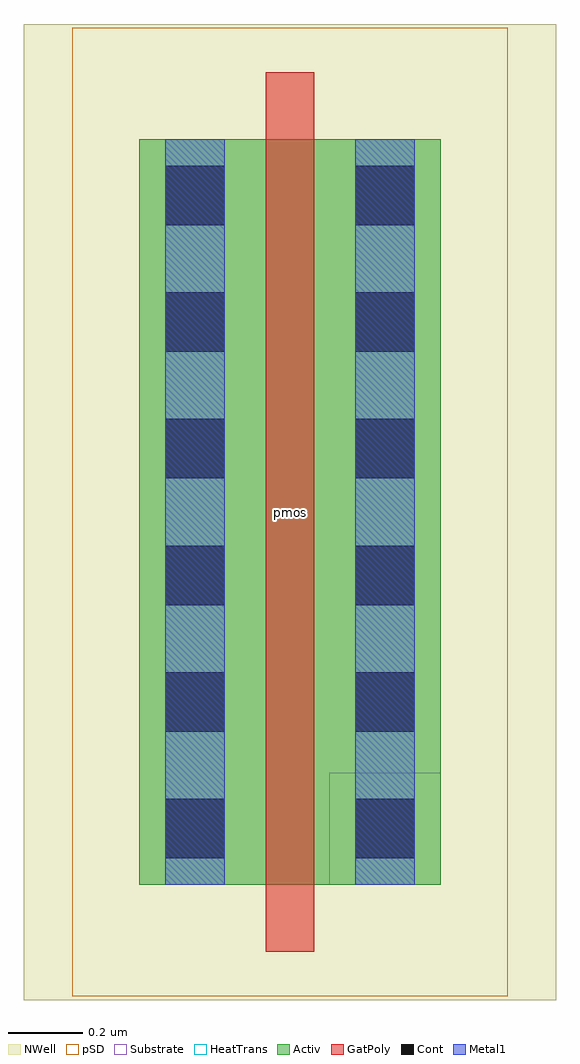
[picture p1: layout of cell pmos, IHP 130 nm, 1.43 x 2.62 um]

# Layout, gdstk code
import gdstk
lib = gdstk.Library(unit=1e-6, precision=1e-09)
def R(c, l, rs):  # rectangles x0, y0, x1, y1
    for r in rs: c.add(gdstk.rectangle(r[:2], r[2:], *l))
def A(c, l, x, y, w, h, nx, ny, dx, dy):  # array of equal rectangles
    R(c, l, [(x+i*dx, y+j*dy, x+i*dx+w, y+j*dy+h) for i in range(nx) for j in range(ny)])
Activ = (1, 0)
GatPoly = (5, 0)
Cont = (6, 0)
Metal1 = (8, 0)
pSD = (14, 0)
NWell = (31, 0)
Substrate = (40, 0)
HeatTrans = (51, 0)

pmos = lib.new_cell('pmos')
R(pmos, Activ, [(0,0,0.3,0.3), (0,0,0.81,2), (0.51,0,0.81,0.3)])
R(pmos, GatPoly, [(0.34,-0.18,0.47,2.18), (0.34,-0.18,0.47,2.18)])
A(pmos, Cont, 0.07, 0.07, 0.16, 0.16, 1, 6, 0, 0.34)
A(pmos, Cont, 0.58, 0.07, 0.16, 0.16, 1, 6, 0, 0.34)
R(pmos, Metal1, [(0.07,0,0.23,2), (0.07,0,0.23,2), (0.58,0,0.74,2), (0.58,0,0.74,2)])
R(pmos, pSD, [(-0.18,-0.3,0.99,2.3)])
R(pmos, NWell, [(-0.31,-0.31,1.12,2.31)])
R(pmos, Substrate, [(0.51,0,0.81,0.3)])
R(pmos, HeatTrans, [(0.34,-0.18,0.47,2.18)])
pmos.add(gdstk.Label('pmos', (0.405,1), layer=63, texttype=0))
pmos.add(gdstk.Label('pmos', (0.405,1), layer=51, texttype=0))

lib.write_gds('pmos.gds')
